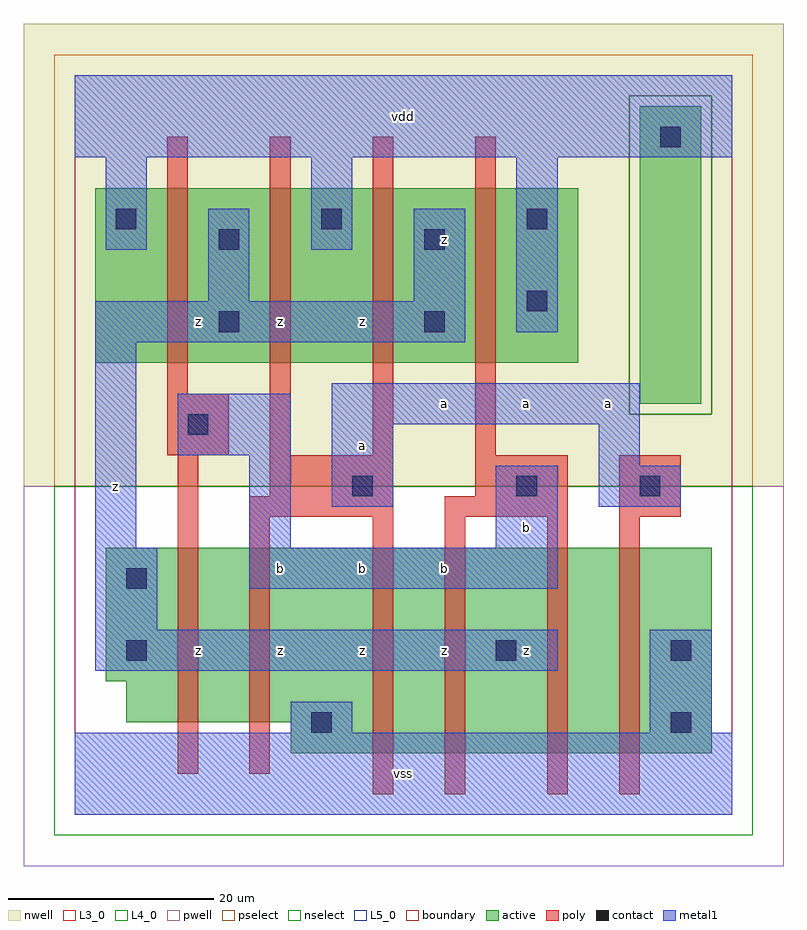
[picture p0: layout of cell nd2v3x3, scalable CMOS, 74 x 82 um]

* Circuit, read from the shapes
.subckt nd2v3x3 a b vdd vss z
M1 n1 b z VSUBS nfet w=17u l=2u
M2 vss a n1 VSUBS nfet w=17u l=2u
M3 n2 a vss VSUBS nfet w=20u l=2u
M4 z b n2 VSUBS nfet w=20u l=2u
M5 n3 b z VSUBS nfet w=20u l=2u
M6 vss a n3 VSUBS nfet w=20u l=2u
M7 z b vdd vdd pfet w=17u l=2u m=2
M8 vdd a z vdd pfet w=17u l=2u m=2
.ends

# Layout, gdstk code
import gdstk
lib = gdstk.Library(unit=1e-6, precision=1e-09)
def R(c, l, rs):  # rectangles x0, y0, x1, y1
    for r in rs: c.add(gdstk.rectangle(r[:2], r[2:], *l))
def A(c, l, x, y, w, h, nx, ny, dx, dy):  # array of equal rectangles
    R(c, l, [(x+i*dx, y+j*dy, x+i*dx+w, y+j*dy+h) for i in range(nx) for j in range(ny)])
L3_0 = (3, 0)
L4_0 = (4, 0)
L5_0 = (5, 0)
contact = (25, 0)
pwell = (41, 0)
nwell = (42, 0)
active = (43, 0)
pselect = (44, 0)
nselect = (45, 0)
poly = (46, 0)
metal1 = (49, 0)
boundary = (63, 0)

nd2v3x3 = lib.new_cell('nd2v3x3')
R(nd2v3x3, L3_0, [(21,6,62,9), (5,9,62,13), (3,13,62,26)])
R(nd2v3x3, L4_0, [(2,44,49,61)])
R(nd2v3x3, L5_0, [(55,40,61,69)])
A(nd2v3x3, contact, 4, 57, 2, 2, 3, 1, 20, 0)
R(nd2v3x3, contact, [(23,8,25,10), (58,8,60,10), (5,15,7,17), (41,15,43,17), (58,15,60,17), (5,22,7,24), (27,31,29,33), (43,31,45,33), (55,31,57,33), (11,37,13,39), (14,47,16,49), (34,47,36,49), (44,49,46,51), (14,55,16,57), (34,55,36,57), (57,65,59,67)])
R(nd2v3x3, pwell, [(-5,-5,69,32)])
R(nd2v3x3, nwell, [(-5,32,69,77)])
R(nd2v3x3, active, [(21,6,62,9), (5,9,62,13), (3,13,62,26), (55,40,61,69), (2,44,49,61)])
R(nd2v3x3, pselect, [(-2,32,66,39), (-2,39,54,70), (62,39,66,70), (-2,70,66,74)])
R(nd2v3x3, nselect, [(-2,-2,66,32), (54,39,62,70)])
A(nd2v3x3, poly, 19, 35, 2, 31, 3, 1, 10, 0)
R(nd2v3x3, poly, [(29,2,31,29), (36,2,38,29), (46,2,48,29), (53,2,55,29), (10,4,12,35), (17,4,19,29), (17,29,31,31), (36,29,48,31), (53,29,59,35), (19,31,31,35), (39,31,48,35), (9,35,15,41), (9,41,11,66)])
R(nd2v3x3, metal1, [(0,0,64,8), (21,8,27,11), (56,8,62,18), (2,14,47,18), (2,18,8,26), (17,22,47,26), (2,26,6,46), (17,26,21,35), (41,26,47,34), (25,30,31,38), (51,30,59,34), (51,34,55,38), (10,35,21,41), (25,38,55,42), (2,46,38,50), (43,47,47,64), (13,50,17,59), (33,50,38,59), (3,55,7,64), (23,55,27,64), (0,64,64,72)])
R(nd2v3x3, boundary, [(0,0,64,72)])
nd2v3x3.add(gdstk.Label('z', (12,16), layer=49, texttype=0))
nd2v3x3.add(gdstk.Label('z', (4,32), layer=49, texttype=0))
nd2v3x3.add(gdstk.Label('z', (12,48), layer=49, texttype=0))
nd2v3x3.add(gdstk.Label('z', (20,16), layer=49, texttype=0))
nd2v3x3.add(gdstk.Label('z', (28,16), layer=49, texttype=0))
nd2v3x3.add(gdstk.Label('b', (28,24), layer=49, texttype=0))
nd2v3x3.add(gdstk.Label('b', (20,24), layer=49, texttype=0))
nd2v3x3.add(gdstk.Label('a', (28,36), layer=49, texttype=0))
nd2v3x3.add(gdstk.Label('z', (28,48), layer=49, texttype=0))
nd2v3x3.add(gdstk.Label('z', (20,48), layer=49, texttype=0))
nd2v3x3.add(gdstk.Label('vss', (32,4), layer=49, texttype=0))
nd2v3x3.add(gdstk.Label('z', (44,16), layer=49, texttype=0))
nd2v3x3.add(gdstk.Label('z', (36,16), layer=49, texttype=0))
nd2v3x3.add(gdstk.Label('b', (36,24), layer=49, texttype=0))
nd2v3x3.add(gdstk.Label('b', (44,28), layer=49, texttype=0))
nd2v3x3.add(gdstk.Label('a', (44,40), layer=49, texttype=0))
nd2v3x3.add(gdstk.Label('a', (36,40), layer=49, texttype=0))
nd2v3x3.add(gdstk.Label('z', (36,56), layer=49, texttype=0))
nd2v3x3.add(gdstk.Label('vdd', (32,68), layer=49, texttype=0))
nd2v3x3.add(gdstk.Label('a', (52,40), layer=49, texttype=0))

lib.write_gds('nd2v3x3.gds')
